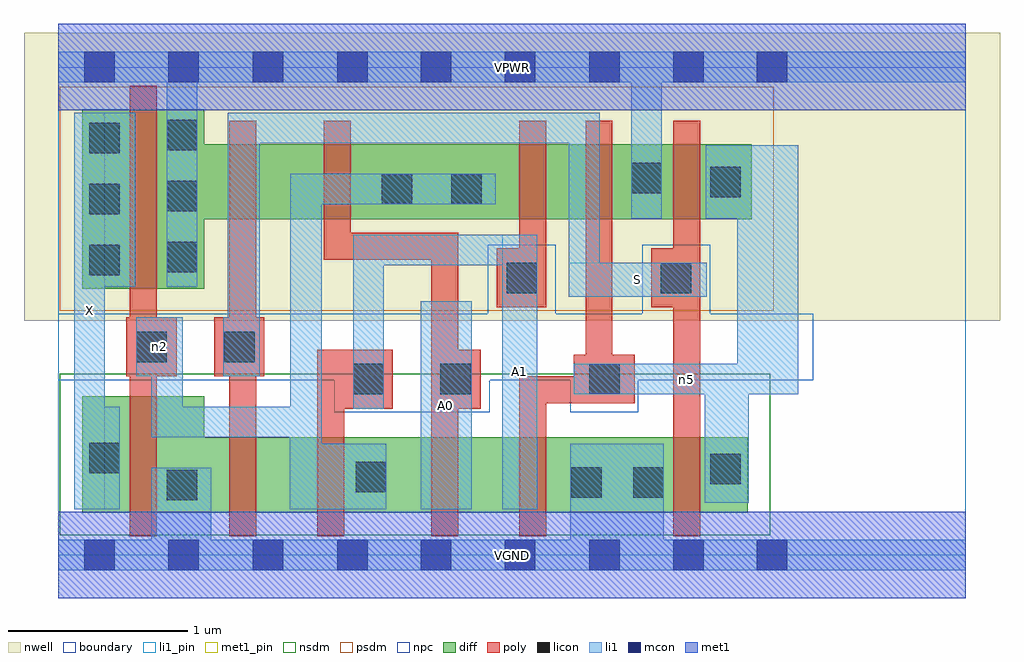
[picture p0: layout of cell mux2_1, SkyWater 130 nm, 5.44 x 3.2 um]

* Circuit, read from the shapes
.subckt mux2_1 A0 A1 S VGND VPWR X n2 n5
XM1 VGND n2 X VSUBS sky130_fd_pr__nfet_01v8 w=0.65 l=0.15
XM2 n1 S VGND VSUBS sky130_fd_pr__nfet_01v8 w=0.42 l=0.15
XM3 n2 A1 n1 VSUBS sky130_fd_pr__nfet_01v8 w=0.42 l=0.15
XM4 n3 A0 n2 VSUBS sky130_fd_pr__nfet_01v8 w=0.42 l=0.15
XM5 VGND n5 n3 VSUBS sky130_fd_pr__nfet_01v8 w=0.42 l=0.15
XM6 n5 S VGND VSUBS sky130_fd_pr__nfet_01v8 w=0.42 l=0.15
XM7 VPWR n2 X n4 sky130_fd_pr__pfet_01v8 w=1 l=0.15
XM8 n6 S VPWR n4 sky130_fd_pr__pfet_01v8 w=0.42 l=0.15
XM9 n2 A0 n6 n4 sky130_fd_pr__pfet_01v8 w=0.42 l=0.15
XM10 n7 A1 n2 n4 sky130_fd_pr__pfet_01v8 w=0.42 l=0.15
XM11 VPWR n5 n7 n4 sky130_fd_pr__pfet_01v8 w=0.42 l=0.15
XM12 n5 S VPWR n4 sky130_fd_pr__pfet_01v8 w=0.42 l=0.15
.ends

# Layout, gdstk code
import gdstk
lib = gdstk.Library(unit=1e-6, precision=1e-09)
def R(c, l, rs):  # rectangles x0, y0, x1, y1
    for r in rs: c.add(gdstk.rectangle(r[:2], r[2:], *l))
def A(c, l, x, y, w, h, nx, ny, dx, dy):  # array of equal rectangles
    R(c, l, [(x+i*dx, y+j*dy, x+i*dx+w, y+j*dy+h) for i in range(nx) for j in range(ny)])
nwell = (64, 20)
diff = (65, 20)
poly = (66, 20)
licon = (66, 44)
li1_pin = (67, 16)
li1 = (67, 20)
mcon = (67, 44)
met1_pin = (68, 16)
met1 = (68, 20)
nsdm = (93, 44)
psdm = (94, 20)
npc = (95, 20)
boundary = (235, 4)

mux2_1 = lib.new_cell('mux2_1')
R(mux2_1, nwell, [(-0.19,1.305,5.25,2.91), (0,1.305,5.06,2.91)])
R(mux2_1, diff, [(0.135,0.235,3.845,0.655), (0.135,0.235,0.815,0.885), (0.135,1.485,0.815,2.485), (0.135,1.87,3.865,2.29)])
R(mux2_1, poly, [(0.4,0.105,0.55,2.615), (0.955,0.105,1.105,2.42), (1.445,0.105,1.595,1.145), (2.08,0.105,2.23,1.795), (2.57,0.105,2.72,0.995), (3.43,0.105,3.58,2.42), (1.445,0.815,1.865,1.145), (2.08,0.815,2.355,1.145), (2.57,0.845,3.215,0.995), (2.875,0.845,3.215,1.115), (2.94,0.845,3.09,2.42), (0.38,0.995,0.66,1.325), (0.87,0.995,1.15,1.325), (2.445,1.38,2.72,1.71), (2.57,1.38,2.72,2.42), (3.305,1.38,3.58,1.71), (1.48,1.645,1.63,2.42), (1.48,1.645,2.23,1.795)])
A(mux2_1, licon, 0.175, 1.56, 0.17, 0.17, 1, 3, 0, 0.34)
A(mux2_1, licon, 0.605, 1.575, 0.17, 0.17, 1, 3, 0, 0.34)
R(mux2_1, licon, [(0.605,0.305,0.775,0.475), (2.86,0.32,3.03,0.49), (3.205,0.32,3.375,0.49), (1.66,0.35,1.83,0.52), (3.635,0.395,3.805,0.565), (0.175,0.455,0.345,0.625), (1.645,0.895,1.815,1.065), (2.13,0.895,2.3,1.065), (2.96,0.895,3.13,1.065), (0.435,1.075,0.605,1.245), (0.925,1.075,1.095,1.245), (2.5,1.46,2.67,1.63), (3.36,1.46,3.53,1.63), (1.805,1.955,1.975,2.125), (2.19,1.955,2.36,2.125), (3.635,1.995,3.805,2.165), (3.195,2.015,3.365,2.185)])
R(mux2_1, li1_pin, [(0.09,0.255,0.26,2.465), (2.02,0.255,2.305,1.415), (2.475,0.255,2.67,1.785), (2.845,1.44,3.615,1.63)])
R(mux2_1, li1, [(0,-0.085,5.06,0.085), (0.52,-0.085,0.855,0.485), (2.855,-0.085,3.375,0.62), (0.09,0.255,0.26,2.465), (0.09,0.255,0.345,0.825), (1.29,0.255,1.83,0.62), (1.29,0.255,1.47,0.825), (1.295,0.255,1.47,2.125), (2.02,0.255,2.305,1.415), (2.475,0.255,2.67,1.785), (3.605,0.29,3.85,1.065), (0.52,0.655,1.47,0.825), (0.52,0.655,0.695,1.325), (1.645,0.815,1.815,1.785), (2.875,0.895,4.125,1.065), (3.785,0.895,4.125,2.285), (0.435,0.995,0.695,1.325), (0.92,0.995,1.125,1.325), (0.945,0.995,1.125,2.465), (2.845,1.44,3.02,2.465), (2.845,1.44,3.615,1.63), (0.09,1.495,0.43,2.465), (0.605,1.495,0.775,2.805), (1.645,1.615,2.67,1.785), (3.195,1.875,3.365,2.805), (3.61,1.875,4.125,2.285), (1.295,1.955,2.44,2.125), (0.945,2.295,3.02,2.465), (0,2.635,5.06,2.805)])
A(mux2_1, mcon, 0.145, -0.085, 0.17, 0.17, 4, 2, 0.47, 2.72)
A(mux2_1, mcon, 2.02, -0.085, 0.17, 0.17, 4, 2, 0.47, 2.72)
R(mux2_1, mcon, [(3.895,-0.085,4.065,0.085), (3.895,2.635,4.065,2.805)])
R(mux2_1, met1_pin, [(0,-0.24,5.06,0.24), (0,2.48,5.06,2.96)])
R(mux2_1, met1, [(0,-0.24,5.06,0.24), (0,2.48,5.06,2.96)])
R(mux2_1, nsdm, [(0.01,0.11,3.97,1.01)])
R(mux2_1, psdm, [(0.01,1.36,3.99,2.61)])
R(mux2_1, npc, [(1.54,0.795,2.405,1.345), (2.855,0.795,3.235,1.345), (0,0.975,4.21,1.345), (2.395,0.975,2.775,1.73), (3.255,0.975,3.635,1.73)])
R(mux2_1, boundary, [(0,0,5.06,2.72)])
mux2_1.add(gdstk.Label('A0', (2.162,0.835), layer=67, texttype=5))
mux2_1.add(gdstk.Label('A1', (2.572,1.02), layer=67, texttype=5))
mux2_1.add(gdstk.Label('S', (3.23,1.535), layer=67, texttype=5))
mux2_1.add(gdstk.Label('X', (0.175,1.36), layer=67, texttype=5))
mux2_1.add(gdstk.Label('n2', (0.565,1.16), layer=67, texttype=5))
mux2_1.add(gdstk.Label('n5', (3.5,0.98), layer=67, texttype=5))
mux2_1.add(gdstk.Label('VPWR', (2.53,2.72), layer=68, texttype=5))
mux2_1.add(gdstk.Label('VGND', (2.53,0), layer=68, texttype=5))
mux2_1.add(gdstk.Label('A0', (2.162,0.835), layer=67, texttype=16))
mux2_1.add(gdstk.Label('A1', (2.572,1.02), layer=67, texttype=16))
mux2_1.add(gdstk.Label('S', (3.23,1.535), layer=67, texttype=16))
mux2_1.add(gdstk.Label('X', (0.175,1.36), layer=67, texttype=16))
mux2_1.add(gdstk.Label('VPWR', (2.53,2.72), layer=68, texttype=16))
mux2_1.add(gdstk.Label('VGND', (2.53,0), layer=68, texttype=16))

lib.write_gds('mux2_1.gds')
